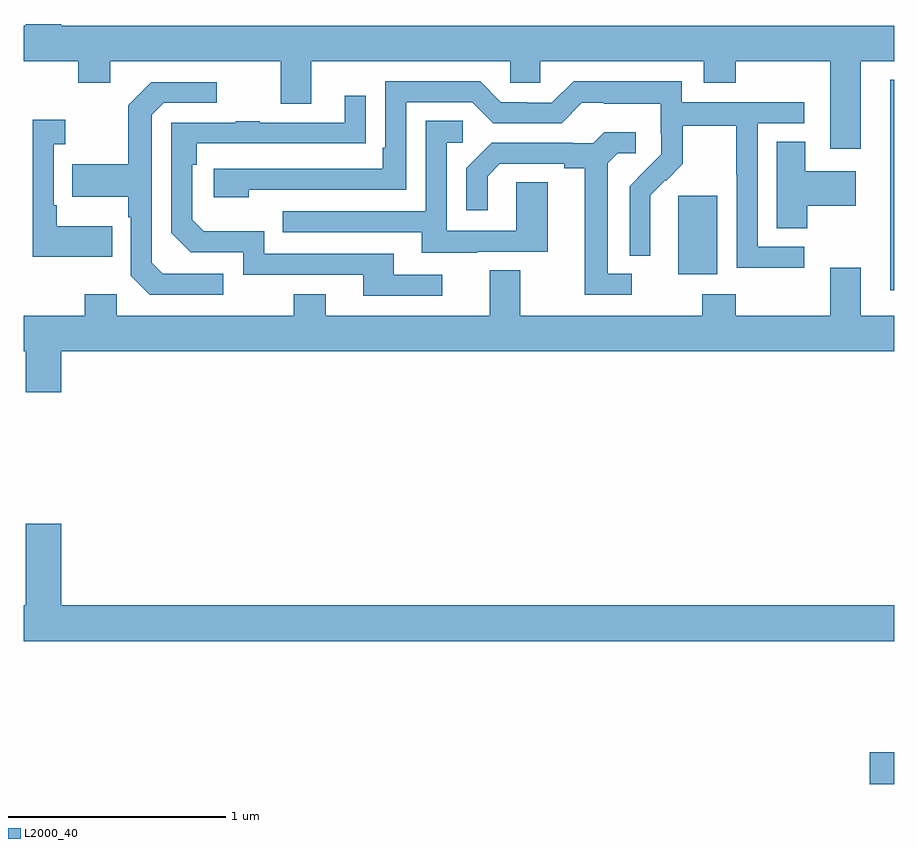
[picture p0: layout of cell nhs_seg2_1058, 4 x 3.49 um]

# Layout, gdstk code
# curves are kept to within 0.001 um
import gdstk
lib = gdstk.Library(unit=1e-6, precision=1e-09)
def R(c, l, rs):  # rectangles x0, y0, x1, y1
    for r in rs: c.add(gdstk.rectangle(r[:2], r[2:], *l))
def P(c, l, *ps):  # polygons
    for p in ps: c.add(gdstk.Polygon(p, *l))
L2000_40 = (2000, 40)

nhs_seg2_1058 = lib.new_cell('nhs_seg2_1058')
R(nhs_seg2_1058, L2000_40, [(168.888,652.307,169,652.454), (168.983,654.576,169,655.543), (168.008,654.65,168.187,655.011)])
P(nhs_seg2_1058, L2000_40, [(168.847,655.628),(169,655.628),(169,655.792),(165.172,655.792),(165.172,655.8),(165.008,655.8),(165.008,655.792),(165,655.792),(165,655.628),(165.25,655.628),(165.25,655.529),(165.397,655.529),(165.397,655.628),(166.181,655.628),(166.181,655.434),(166.321,655.434),(166.321,655.628),(167.235,655.628),(167.235,655.53),(167.373,655.53),(167.373,655.628),(168.125,655.628),(168.125,655.529),(168.273,655.529),(168.273,655.628),(168.707,655.628),(168.707,655.227),(168.847,655.227)],
  [(168.586,654.777),(168.372,654.777),(168.372,655.344),(168.586,655.344),(168.586,655.44),(168.024,655.44),(168.024,655.537),(167.527,655.537),(167.427,655.437),(167.312,655.437),(167.312,655.44),(167.193,655.44),(167.097,655.536),(166.662,655.536),(166.662,655.231),(166.649,655.231),(166.649,655.134),(165.873,655.134),(165.873,655.004),(166.034,655.004),(166.034,655.038),(166.758,655.038),(166.758,655.44),(167.061,655.44),(167.157,655.344),(167.472,655.344),(167.565,655.437),(167.665,655.437),(167.665,655.433),(167.928,655.433),(167.928,655.299),(167.93,655.299),(167.93,655.202),(167.784,655.054),(167.784,654.736),(167.88,654.736),(167.879,655.013),(167.949,655.083),(167.952,655.08),(168.029,655.157),(168.029,655.332),(168.274,655.332),(168.274,655.108),(168.276,655.108),(168.276,654.679),(168.586,654.679)],
  [(165.916,654.651),(165.639,654.651),(165.588,654.702),(165.588,655.383),(165.642,655.437),(165.886,655.437),(165.886,655.533),(165.585,655.533),(165.48,655.427),(165.48,655.155),(165.223,655.155),(165.223,655.007),(165.48,655.007),(165.48,654.911),(165.492,654.911),(165.492,654.642),(165.579,654.555),(165.916,654.555)],
  [(166.924,654.648),(166.699,654.648),(166.699,654.744),(166.104,654.744),(166.104,654.847),(165.827,654.847),(165.774,654.9),(165.774,655.154),(165.794,655.154),(165.794,655.251),(166.571,655.252),(166.571,655.471),(166.475,655.471),(166.475,655.347),(166.085,655.347),(166.085,655.352),(165.973,655.352),(165.973,655.347),(165.678,655.347),(165.678,654.84),(165.768,654.75),(166.008,654.75),(166.008,654.648),(166.559,654.648),(166.559,654.552),(166.924,654.552)],
  [(165.407,654.871),(165.151,654.871),(165.151,654.967),(165.138,654.967),(165.138,655.247),(165.19,655.247),(165.19,655.36),(165.041,655.36),(165.041,654.731),(165.407,654.731)],
  [(167.083,654.753),(167.407,654.753),(167.407,655.073),(167.262,655.073),(167.262,654.849),(166.944,654.849),(166.944,655.254),(167.017,655.254),(167.017,655.355),(166.848,655.355),(166.848,654.939),(166.189,654.939),(166.189,654.843),(166.829,654.843),(166.829,654.749),(167.083,654.749)],
  [(167.794,654.651),(167.683,654.651),(167.683,655.159),(167.73,655.206),(167.812,655.206),(167.812,655.303),(167.668,655.303),(167.616,655.251),(167.522,655.251),(167.522,655.254),(167.15,655.254),(167.034,655.138),(167.034,654.945),(167.131,654.945),(167.131,655.101),(167.188,655.158),(167.483,655.158),(167.483,655.136),(167.579,655.136),(167.579,654.555),(167.794,654.555)],
  [(168.6,654.965),(168.823,654.965),(168.823,655.123),(168.592,655.123),(168.592,655.259),(168.461,655.259),(168.461,654.862),(168.6,654.862)],
  [(165.172,654.296),(169,654.296),(169,654.46),(168.847,654.46),(168.847,654.679),(168.707,654.679),(168.707,654.46),(168.273,654.46),(168.273,654.559),(168.118,654.559),(168.118,654.46),(167.281,654.46),(167.281,654.668),(167.141,654.668),(167.141,654.46),(166.387,654.46),(166.387,654.559),(166.24,654.559),(166.24,654.46),(165.426,654.46),(165.426,654.559),(165.28,654.559),(165.28,654.46),(165,654.46),(165,654.296),(165.008,654.296),(165.008,654.108),(165.172,654.108)],
  [(169,653.128),(165.172,653.128),(165.172,653.503),(165.008,653.503),(165.008,653.128),(165,653.128),(165,652.964),(169,652.964)])

lib.write_gds('nhs_seg2_1058.gds')
